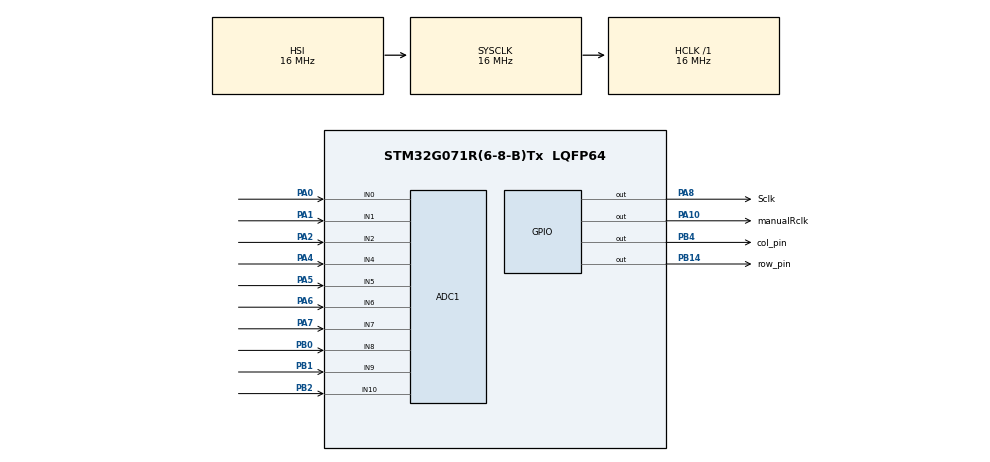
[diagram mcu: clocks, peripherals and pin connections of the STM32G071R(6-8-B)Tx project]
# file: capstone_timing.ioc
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ADC1.Channel-0\#ChannelRegularConversion=ADC_CHANNEL_0
ADC1.Channel-1\#ChannelRegularConversion=ADC_CHANNEL_1
ADC1.Channel-2\#ChannelRegularConversion=ADC_CHANNEL_2
ADC1.Channel-3\#ChannelRegularConversion=ADC_CHANNEL_10
ADC1.Channel-4\#ChannelRegularConversion=ADC_CHANNEL_4
ADC1.Channel-5\#ChannelRegularConversion=ADC_CHANNEL_5
ADC1.Channel-6\#ChannelRegularConversion=ADC_CHANNEL_6
ADC1.Channel-7\#ChannelRegularConversion=ADC_CHANNEL_7
ADC1.ContinuousConvMode=ENABLE
ADC1.DMAContinuousRequests=ENABLE
ADC1.NbrOfConversion=8
ADC1.NbrOfConversionFlag=1
ADC1.Rank-0\#ChannelRegularConversion=1
ADC1.Rank-1\#ChannelRegularConversion=2
ADC1.Rank-2\#ChannelRegularConversion=3
ADC1.Rank-3\#ChannelRegularConversion=4
ADC1.Rank-4\#ChannelRegularConversion=5
ADC1.Rank-5\#ChannelRegularConversion=6
ADC1.Rank-6\#ChannelRegularConversion=7
ADC1.Rank-7\#ChannelRegularConversion=8
ADC1.SamplingTime-0\#ChannelRegularConversion=ADC_SAMPLINGTIME_COMMON_1
ADC1.SamplingTime-1\#ChannelRegularConversion=ADC_SAMPLINGTIME_COMMON_1
ADC1.SamplingTime-2\#ChannelRegularConversion=ADC_SAMPLINGTIME_COMMON_1
ADC1.SamplingTime-3\#ChannelRegularConversion=ADC_SAMPLINGTIME_COMMON_1
ADC1.SamplingTime-4\#ChannelRegularConversion=ADC_SAMPLINGTIME_COMMON_1
ADC1.SamplingTime-5\#ChannelRegularConversion=ADC_SAMPLINGTIME_COMMON_1
ADC1.SamplingTime-6\#ChannelRegularConversion=ADC_SAMPLINGTIME_COMMON_1
ADC1.SamplingTime-7\#ChannelRegularConversion=ADC_SAMPLINGTIME_COMMON_1
ADC1.SamplingTimeCommon1=ADC_SAMPLETIME_160CYCLES_5
ADC1.SamplingTimeCommon2=ADC_SAMPLETIME_160CYCLES_5
ADC1.SelectedChannel=ADC_CHANNEL_0|ADC_CHANNEL_1|ADC_CHANNEL_2|ADC_CHANNEL_4|ADC_CHANNEL_5|ADC_CHANNEL_6|ADC_CHANNEL_7|ADC_CHANNEL_8|ADC_CHANNEL_9|ADC_CHANNEL_10
ADC1.master=1
Dma.ADC1.0.Direction=DMA_PERIPH_TO_MEMORY
Dma.ADC1.0.EventEnable=DISABLE
Dma.ADC1.0.Instance=DMA1_Channel1
Dma.ADC1.0.MemDataAlignment=DMA_MDATAALIGN_HALFWORD
Dma.ADC1.0.MemInc=DMA_MINC_ENABLE
Dma.ADC1.0.Mode=DMA_CIRCULAR
Dma.ADC1.0.PeriphDataAlignment=DMA_PDATAALIGN_HALFWORD
Dma.ADC1.0.PeriphInc=DMA_PINC_DISABLE
Dma.ADC1.0.Polarity=HAL_DMAMUX_REQ_GEN_RISING
Dma.ADC1.0.Priority=DMA_PRIORITY_LOW
Dma.ADC1.0.RequestNumber=1
Dma.ADC1.0.SignalID=NONE
Dma.ADC1.0.SyncEnable=DISABLE
Dma.ADC1.0.SyncPolarity=HAL_DMAMUX_SYNC_NO_EVENT
Dma.ADC1.0.SyncRequestNumber=1
Dma.ADC1.0.SyncSignalID=NONE
Dma.Request0=ADC1
Mcu.Family=STM32G0
Mcu.Name=STM32G071R(6-8-B)Tx
Mcu.Package=LQFP64
NVIC.ADC1_COMP_IRQn=true\:1\:0\:true\:false\:true\:true\:true\:true
NVIC.DMA1_Channel1_IRQn=true\:0\:0\:false\:false\:true\:false\:true\:true
NVIC.TIM3_IRQn=true\:0\:0\:false\:false\:true\:true\:true\:true
PA0.Mode=IN0
PA0.Signal=ADC1_IN0
PA1.Mode=IN1
PA1.Signal=ADC1_IN1
PA10.GPIO_Label=manualRclk
PA10.Signal=GPIO_Output
PA13.Mode=Serial_Wire
PA13.Signal=SYS_SWDIO
PA14-BOOT0.Mode=Serial_Wire
PA14-BOOT0.Signal=SYS_SWCLK
PA2.Mode=IN2
PA2.Signal=ADC1_IN2
PA4.Mode=IN4
PA4.Signal=ADC1_IN4
PA5.Mode=IN5
PA5.Signal=ADC1_IN5
PA6.Mode=IN6
PA6.Signal=ADC1_IN6
PA7.Mode=IN7
PA7.Signal=ADC1_IN7
PA8.GPIO_Label=Sclk
PA8.Signal=GPIO_Output
PB0.Mode=IN8
PB0.Signal=ADC1_IN8
PB1.Mode=IN9
PB1.Signal=ADC1_IN9
PB14.GPIO_Label=row_pin
PB14.Signal=GPIO_Output
PB2.Mode=IN10
PB2.Signal=ADC1_IN10
PB4.GPIO_Label=col_pin
PB4.Signal=GPIO_Output
ProjectManager.HeapSize=0x200
ProjectManager.StackSize=0x400
ProjectManager.TargetToolchain=STM32CubeIDE
RCC.AHBFreq_Value=16000000
RCC.CortexFreq_Value=16000000
RCC.EXTERNAL_CLOCK_VALUE=48000
RCC.HCLKFreq_Value=16000000
RCC.HSE_VALUE=8000000
RCC.HSI_VALUE=16000000
RCC.LSE_VALUE=32768
RCC.SYSCLKFreq_VALUE=16000000
RCC.VCOOutputFreq_Value=128000000
TIM2.Period=15999999
TIM3.Period=3905
TIM3.Prescaler=127
TIM3.TIM_MasterOutputTrigger=TIM_TRGO_UPDATE
VP_TIM2_VS_ClockSourceINT.Mode=Internal
VP_TIM3_VS_ClockSourceINT.Mode=Internal
board=custom

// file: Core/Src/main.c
/* USER CODE BEGIN Header */
/**
  ******************************************************************************
  * @file           : main.c
  * @brief          : Main program body
  ******************************************************************************
  * @attention
  *
  * Copyright (c) 2025 STMicroelectronics.
  * All rights reserved.
  *
  * This software is licensed under terms that can be found in the LICENSE file
  * in the root directory of this software component.
  * If no LICENSE file comes with this software, it is provided AS-IS.
  *
  ******************************************************************************
  */
/* USER CODE END Header */
#include "main.h"

/* USER CODE BEGIN PD */

#define TRUE 1
#define FALSE 0
#define NUMBER_OF_SENSORS 8
#define TRIGGER_CONSTANT 0.72

/* USER CODE END PD */

ADC_HandleTypeDef hadc1;
DMA_HandleTypeDef hdma_adc1;

TIM_HandleTypeDef htim2;
TIM_HandleTypeDef htim3;

void SystemClock_Config(void);
static void MX_GPIO_Init(void);
static void MX_DMA_Init(void);
static void MX_TIM3_Init(void);
static void MX_TIM2_Init(void);
static void MX_ADC1_Init(void);

/* USER CODE BEGIN 0 */

int rowIndex = 0;
int colIndex = 0;

int adcTriggerValue = 0;

int rowValues[16] = {0, 0, 0, 0,
					0, 0, 0, 0,
					0, 0, 0, 0,
					0, 0, 0, 0,
					};

int colValues[16] = {0, 0, 0, 0,
					0, 0, 0, 0,
					0, 0, 0, 0,
					0, 0, 0, 0,
					};

uint16_t adcBuffer[NUMBER_OF_SENSORS];

void illuminateLEDS();

/* USER CODE END 0 */

int main(void)
{

  /* MCU Configuration--------------------------------------------------------*/

  /* Reset of all peripherals, Initializes the Flash interface and the Systick. */
  HAL_Init();

  /* Configure the system clock */
  SystemClock_Config();

  /* Initialize all configured peripherals */
  MX_GPIO_Init();
  MX_DMA_Init();
  MX_TIM3_Init();
  MX_TIM2_Init();
  MX_ADC1_Init();
  /* USER CODE BEGIN 2 */

  if (HAL_TIM_Base_Start_IT(&htim3) != HAL_OK){
  	  Error_Handler();
    }

  HAL_TIM_PWM_Start(&htim2, TIM_CHANNEL_1);

  if(HAL_ADCEx_Calibration_Start(&hadc1) != HAL_OK){
     	  Error_Handler();
       }

  HAL_ADC_Start_DMA(&hadc1, (uint32_t*)adcBuffer, 8);

  /* USER CODE END 2 */

  /* Infinite loop */
  /* USER CODE BEGIN WHILE */
  while (1)
  {
	  int average_sensor_reading = 0;
	  int adcValue = 5000;
	  int objectSensed = 0;

	  for(int i = 0; i < NUMBER_OF_SENSORS; i++){

		  adcValue = adcBuffer[i];
		  average_sensor_reading += adcValue / NUMBER_OF_SENSORS;

		  if (adcValue < adcTriggerValue){
			  objectSensed = 1;
		  }
		  else{
			  objectSensed = 0;
		  }

		  switch(i){
		  	  case 0:
		  		  if (objectSensed == 1){
		  			for (int i=1; i<6; i++){
						rowValues[i] = 1;
						colValues[i] = 1;
					}
		  		  }
				  break;
		  	  case 1:
		  		  if(objectSensed == 1){
		  			for (int i=1; i<6; i++){
						rowValues[i+5] = 1;
						colValues[i] = 1;
					}
		  		  }
		  		  break;
		  	  case 2:
		  		  if(objectSensed == 1){
		  			for (int i=1; i<6; i++){
						rowValues[i+10] = 1;
						colValues[i] = 1;
		  			}
		  		  }
				  break;
			  case 3:
				  if(objectSensed == 1){
					  for (int i=1; i<9; i++){
						  rowValues[i] = 1;
						  if (i<6){
							  colValues[i+5] = 1;
						  }
					  }
				  }
				  break;
			  case 4:
				  if (objectSensed==1){
					for (int i=1; i<8; i++){
					 rowValues[i+8] = 1;
					 	 if (i<6){
					 		 	 colValues[i+5] = 1;
					 	 }
					}
				  }
				  break;
			  case 5:
				  if (objectSensed==1){
				  	for (int i=1; i<6; i++){
				  		rowValues[i] = 1;
				  		colValues[i+10] = 1;
				  	}
				  }
				  break;
			  case 6:
				  if (objectSensed==1){
				  	for (int i=1; i<6; i++){
				  		rowValues[i+5] = 1;
				  		colValues[i+10] = 1;
				  	}
				  }

				  break;
			  case 7:
				  if (objectSensed==1){
				  	for (int i=1; i<6; i++){
				  		rowValues[i+10] = 1;
				  		colValues[i+10] = 1;
				  	}
				  }
				  break;

		  }
	  }

	  illuminateLEDS();
	  adcTriggerValue = average_sensor_reading * TRIGGER_CONSTANT;
	  for (int i = 0; i < 16; i++){
		  rowValues[i] = 0;
		  colValues[i] = 0;
	  }

    /* USER CODE END WHILE */

  }
}

void SystemClock_Config(void)
{
  RCC_OscInitTypeDef RCC_OscInitStruct = {0};
  RCC_ClkInitTypeDef RCC_ClkInitStruct = {0};

  /** Configure the main internal regulator output voltage
  */
  HAL_PWREx_ControlVoltageScaling(PWR_REGULATOR_VOLTAGE_SCALE1);

  /** Initializes the RCC Oscillators according to the specified parameters
  * in the RCC_OscInitTypeDef structure.
  */
  RCC_OscInitStruct.OscillatorType = RCC_OSCILLATORTYPE_HSI;
  RCC_OscInitStruct.HSIState = RCC_HSI_ON;
  RCC_OscInitStruct.HSIDiv = RCC_HSI_DIV1;
  RCC_OscInitStruct.HSICalibrationValue = RCC_HSICALIBRATION_DEFAULT;
  RCC_OscInitStruct.PLL.PLLState = RCC_PLL_NONE;
  if (HAL_RCC_OscConfig(&RCC_OscInitStruct) != HAL_OK)
  {
    Error_Handler();
  }

  /** Initializes the CPU, AHB and APB buses clocks
  */
  RCC_ClkInitStruct.ClockType = RCC_CLOCKTYPE_HCLK|RCC_CLOCKTYPE_SYSCLK
                              |RCC_CLOCKTYPE_PCLK1;
  RCC_ClkInitStruct.SYSCLKSource = RCC_SYSCLKSOURCE_HSI;
  RCC_ClkInitStruct.AHBCLKDivider = RCC_SYSCLK_DIV1;
  RCC_ClkInitStruct.APB1CLKDivider = RCC_HCLK_DIV1;

  if (HAL_RCC_ClockConfig(&RCC_ClkInitStruct, FLASH_LATENCY_0) != HAL_OK)
  {
    Error_Handler();
  }
}

static void MX_ADC1_Init(void)
{

  ADC_ChannelConfTypeDef sConfig = {0};

  /** Configure the global features of the ADC (Clock, Resolution, Data Alignment and number of conversion)
  */
  hadc1.Instance = ADC1;
  hadc1.Init.ClockPrescaler = ADC_CLOCK_SYNC_PCLK_DIV2;
  hadc1.Init.Resolution = ADC_RESOLUTION_12B;
  hadc1.Init.DataAlign = ADC_DATAALIGN_RIGHT;
  hadc1.Init.ScanConvMode = ADC_SCAN_ENABLE;
  hadc1.Init.EOCSelection = ADC_EOC_SINGLE_CONV;
  hadc1.Init.LowPowerAutoWait = DISABLE;
  hadc1.Init.LowPowerAutoPowerOff = DISABLE;
  hadc1.Init.ContinuousConvMode = ENABLE;
  hadc1.Init.NbrOfConversion = 8;
  hadc1.Init.ExternalTrigConv = ADC_SOFTWARE_START;
  hadc1.Init.ExternalTrigConvEdge = ADC_EXTERNALTRIGCONVEDGE_NONE;
  hadc1.Init.DMAContinuousRequests = ENABLE;
  hadc1.Init.Overrun = ADC_OVR_DATA_PRESERVED;
  hadc1.Init.SamplingTimeCommon1 = ADC_SAMPLETIME_160CYCLES_5;
  hadc1.Init.SamplingTimeCommon2 = ADC_SAMPLETIME_160CYCLES_5;
  hadc1.Init.OversamplingMode = DISABLE;
  hadc1.Init.TriggerFrequencyMode = ADC_TRIGGER_FREQ_HIGH;
  if (HAL_ADC_Init(&hadc1) != HAL_OK)
  {
    Error_Handler();
  }

  /** Configure Regular Channel
  */
  sConfig.Channel = ADC_CHANNEL_0;
  sConfig.Rank = ADC_REGULAR_RANK_1;
  sConfig.SamplingTime = ADC_SAMPLINGTIME_COMMON_1;
  if (HAL_ADC_ConfigChannel(&hadc1, &sConfig) != HAL_OK)
  {
    Error_Handler();
  }

  /** Configure Regular Channel
  */
  sConfig.Channel = ADC_CHANNEL_1;
  sConfig.Rank = ADC_REGULAR_RANK_2;
  if (HAL_ADC_ConfigChannel(&hadc1, &sConfig) != HAL_OK)
  {
    Error_Handler();
  }

  /** Configure Regular Channel
  */
  sConfig.Channel = ADC_CHANNEL_2;
  sConfig.Rank = ADC_REGULAR_RANK_3;
  if (HAL_ADC_ConfigChannel(&hadc1, &sConfig) != HAL_OK)
  {
    Error_Handler();
  }

  /** Configure Regular Channel
  */
  sConfig.Channel = ADC_CHANNEL_10;
  sConfig.Rank = ADC_REGULAR_RANK_4;
  if (HAL_ADC_ConfigChannel(&hadc1, &sConfig) != HAL_OK)
  {
    Error_Handler();
  }

  /** Configure Regular Channel
  */
  sConfig.Channel = ADC_CHANNEL_4;
  sConfig.Rank = ADC_REGULAR_RANK_5;
  if (HAL_ADC_ConfigChannel(&hadc1, &sConfig) != HAL_OK)
  {
    Error_Handler();
  }

  /** Configure Regular Channel
  */
  sConfig.Channel = ADC_CHANNEL_5;
  sConfig.Rank = ADC_REGULAR_RANK_6;
  if (HAL_ADC_ConfigChannel(&hadc1, &sConfig) != HAL_OK)
  {
    Error_Handler();
  }

  /** Configure Regular Channel
  */
  sConfig.Channel = ADC_CHANNEL_6;
  sConfig.Rank = ADC_REGULAR_RANK_7;
  if (HAL_ADC_ConfigChannel(&hadc1, &sConfig) != HAL_OK)
  {
    Error_Handler();
  }

  /** Configure Regular Channel
  */
  sConfig.Channel = ADC_CHANNEL_7;
  sConfig.Rank = ADC_REGULAR_RANK_8;
  if (HAL_ADC_ConfigChannel(&hadc1, &sConfig) != HAL_OK)
  {
    Error_Handler();
  }

}

static void MX_TIM2_Init(void)
{

  TIM_ClockConfigTypeDef sClockSourceConfig = {0};
  TIM_MasterConfigTypeDef sMasterConfig = {0};

  htim2.Instance = TIM2;
  htim2.Init.Prescaler = 0;
  htim2.Init.CounterMode = TIM_COUNTERMODE_UP;
  htim2.Init.Period = 15999999;
  htim2.Init.ClockDivision = TIM_CLOCKDIVISION_DIV1;
  htim2.Init.AutoReloadPreload = TIM_AUTORELOAD_PRELOAD_DISABLE;
  if (HAL_TIM_Base_Init(&htim2) != HAL_OK)
  {
    Error_Handler();
  }
  sClockSourceConfig.ClockSource = TIM_CLOCKSOURCE_INTERNAL;
  if (HAL_TIM_ConfigClockSource(&htim2, &sClockSourceConfig) != HAL_OK)
  {
    Error_Handler();
  }
  sMasterConfig.MasterOutputTrigger = TIM_TRGO_RESET;
  sMasterConfig.MasterSlaveMode = TIM_MASTERSLAVEMODE_DISABLE;
  if (HAL_TIMEx_MasterConfigSynchronization(&htim2, &sMasterConfig) != HAL_OK)
  {
    Error_Handler();
  }

}

static void MX_TIM3_Init(void)
{

  TIM_ClockConfigTypeDef sClockSourceConfig = {0};
  TIM_MasterConfigTypeDef sMasterConfig = {0};

  htim3.Instance = TIM3;
  htim3.Init.Prescaler = 127;
  htim3.Init.CounterMode = TIM_COUNTERMODE_UP;
  htim3.Init.Period = 3905;
  htim3.Init.ClockDivision = TIM_CLOCKDIVISION_DIV1;
  htim3.Init.AutoReloadPreload = TIM_AUTORELOAD_PRELOAD_DISABLE;
  if (HAL_TIM_Base_Init(&htim3) != HAL_OK)
  {
    Error_Handler();
  }
  sClockSourceConfig.ClockSource = TIM_CLOCKSOURCE_INTERNAL;
  if (HAL_TIM_ConfigClockSource(&htim3, &sClockSourceConfig) != HAL_OK)
  {
    Error_Handler();
  }
  sMasterConfig.MasterOutputTrigger = TIM_TRGO_UPDATE;
  sMasterConfig.MasterSlaveMode = TIM_MASTERSLAVEMODE_DISABLE;
  if (HAL_TIMEx_MasterConfigSynchronization(&htim3, &sMasterConfig) != HAL_OK)
  {
    Error_Handler();
  }

}

static void MX_DMA_Init(void)
{

  /* DMA controller clock enable */
  __HAL_RCC_DMA1_CLK_ENABLE();

  /* DMA interrupt init */
  /* DMA1_Channel1_IRQn interrupt configuration */
  HAL_NVIC_SetPriority(DMA1_Channel1_IRQn, 0, 0);
  HAL_NVIC_EnableIRQ(DMA1_Channel1_IRQn);

}

static void MX_GPIO_Init(void)
{
  GPIO_InitTypeDef GPIO_InitStruct = {0};

  /* GPIO Ports Clock Enable */
  __HAL_RCC_GPIOA_CLK_ENABLE();
  __HAL_RCC_GPIOB_CLK_ENABLE();

  /*Configure GPIO pin Output Level */
  HAL_GPIO_WritePin(GPIOB, row_pin_Pin|col_pin_Pin, GPIO_PIN_RESET);

  /*Configure GPIO pin Output Level */
  HAL_GPIO_WritePin(GPIOA, Sclk_Pin|manualRclk_Pin, GPIO_PIN_RESET);

  /*Configure GPIO pins : row_pin_Pin col_pin_Pin */
  GPIO_InitStruct.Pin = row_pin_Pin|col_pin_Pin;
  GPIO_InitStruct.Mode = GPIO_MODE_OUTPUT_PP;
  GPIO_InitStruct.Pull = GPIO_NOPULL;
  GPIO_InitStruct.Speed = GPIO_SPEED_FREQ_LOW;
  HAL_GPIO_Init(GPIOB, &GPIO_InitStruct);

  /*Configure GPIO pins : Sclk_Pin manualRclk_Pin */
  GPIO_InitStruct.Pin = Sclk_Pin|manualRclk_Pin;
  GPIO_InitStruct.Mode = GPIO_MODE_OUTPUT_PP;
  GPIO_InitStruct.Pull = GPIO_NOPULL;
  GPIO_InitStruct.Speed = GPIO_SPEED_FREQ_LOW;
  HAL_GPIO_Init(GPIOA, &GPIO_InitStruct);

}

/* USER CODE BEGIN 4 */

void illuminateLED(int row, int col){

	for (int i = 0; i < 16; i++){

		if (i != row){HAL_GPIO_WritePin(row_pin_GPIO_Port, row_pin_Pin, GPIO_PIN_RESET);}
		else{HAL_GPIO_WritePin(row_pin_GPIO_Port, row_pin_Pin, GPIO_PIN_SET);}

		if (i != col){HAL_GPIO_WritePin(col_pin_GPIO_Port, col_pin_Pin, GPIO_PIN_SET);}
		else{HAL_GPIO_WritePin(col_pin_GPIO_Port, col_pin_Pin, GPIO_PIN_RESET);}

		//HAL_Delay(0);
		HAL_GPIO_WritePin(Sclk_GPIO_Port, Sclk_Pin, GPIO_PIN_SET);
		//HAL_Delay(0);
		HAL_GPIO_WritePin(Sclk_GPIO_Port, Sclk_Pin, GPIO_PIN_RESET);
	}
	HAL_GPIO_WritePin(manualRclk_GPIO_Port, manualRclk_Pin, GPIO_PIN_SET);
	//HAL_Delay(0);
	HAL_GPIO_WritePin(manualRclk_GPIO_Port, manualRclk_Pin, GPIO_PIN_RESET);

}

void illuminateLEDS(){

	int anyLedOn = 0;

	for (int row = 0; row < 16; row++){
		for (int col = 0; col < 16; col++){
			if (rowValues[row] == 1 && colValues[col] == 1){
				illuminateLED(row, col);
				anyLedOn = 1;
			}
		}
	}
	if(anyLedOn == 0){
		illuminateLED(-1, -1);
	}

}

/* USER CODE END 4 */

void Error_Handler(void)
{
  __disable_irq();
  while (1)
  {
  }
}
